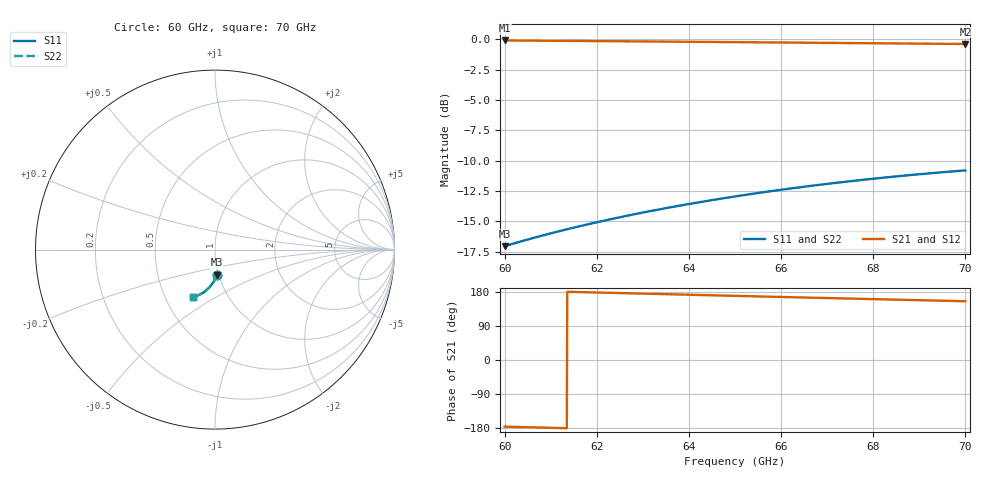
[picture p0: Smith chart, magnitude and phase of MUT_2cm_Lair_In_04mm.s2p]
! TOUCHSTONE file generated by CST MICROWAVE STUDIO
! Date and time: Fri Mar  8 11:09:32 2024
! Project name: material_angular.cst
! Parameters = {d=9.2; Yi=5; iiii=5; exis2=5; exis=5; X=5; Z=5; Y=2}
! Header version: 2018
! Port assignment regex: !\s*Touchstone port\s*([0-9]+)\s*=\s*(CST MWS port|CST DS port)\s*([0-9]+|Zmin|Zmax)\s*\(\"(.*)\"\)(\s*mode\s*([0-9]+))?.*
! Touchstone port assignment:
! Touchstone port 1 = CST MWS port 1 ("")
! Touchstone port 2 = CST MWS port 2 ("")
# GHz S MA R 376.7
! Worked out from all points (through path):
!   1001 points, 60 GHz to 70 GHz, reference 376.7 ohm
!   highest |S21| = -0.09 dB at 60 GHz (marker M1); lowest = -0.4 dB at 70 GHz (marker M2)
!   group delay of S21, straight-line fit = 8.08 ps
!   lowest |S11| = -17.0 dB at 60 GHz (marker M3), VSWR 1.33, Z = 369 - j106 ohm
!   |S11| at or under -10 dB: start of sweep to end of sweep
!   |S22| runs from -17.0 to -10.8 dB; largest |S21 - S12| = 0.00056
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60  0.1406 -86.0  0.9901 -175.9  0.9899 -175.9  0.1406 -85.9
60.05  0.1415 -86.1  0.99 -176.1  0.9897 -176.1  0.1415 -86.0
60.46  0.149 -87.4  0.9889 -177.3  0.9887 -177.3  0.1489 -87.2
60.87  0.1564 -88.6  0.9877 -178.5  0.9876 -178.6  0.1563 -88.5
61.27  0.1635 -89.8  0.9865 -179.7  0.9865 -179.8  0.1635 -89.7
61.67  0.1706 -91.0  0.9853 179.1  0.9853 179.1  0.1706 -90.9
62.08  0.1777 -92.3  0.9841 177.8  0.9841 177.8  0.1777 -92.1
62.49  0.1848 -93.5  0.9828 176.6  0.9828 176.6  0.1848 -93.3
62.91  0.1919 -94.7  0.9814 175.4  0.9815 175.4  0.1919 -94.6
63.34  0.199 -96.0  0.98 174.1  0.9801 174.1  0.1991 -95.9
63.74  0.2056 -97.2  0.9786 172.9  0.9788 172.9  0.2056 -97.1
64.15  0.2121 -98.4  0.9772 171.7  0.9775 171.7  0.2122 -98.3
64.57  0.2187 -99.6  0.9758 170.5  0.976 170.5  0.2188 -99.5
65  0.2254 -100.8  0.9743 169.2  0.9745 169.2  0.2254 -100.8
65.82  0.2375 -103.2  0.9714 166.8  0.9716 166.8  0.2375 -103.1
66.67  0.2494 -105.6  0.9684 164.4  0.9685 164.4  0.2495 -105.6
67.5  0.2604 -108.0  0.9655 162.0  0.9655 162.0  0.2604 -107.9
68.34  0.2707 -110.4  0.9628 159.7  0.9625 159.7  0.2708 -110.2
68.83  0.2763 -111.7  0.9613 158.3  0.9608 158.3  0.2765 -111.6
69.31  0.2816 -113.1  0.9598 156.9  0.9592 156.9  0.2819 -112.9
69.95  0.2881 -114.9  0.9577 155.1  0.9576 155.2  0.2882 -114.8
70  0.2885 -115.0  0.9575 155.0  0.9575 155.0  0.2886 -115.0
